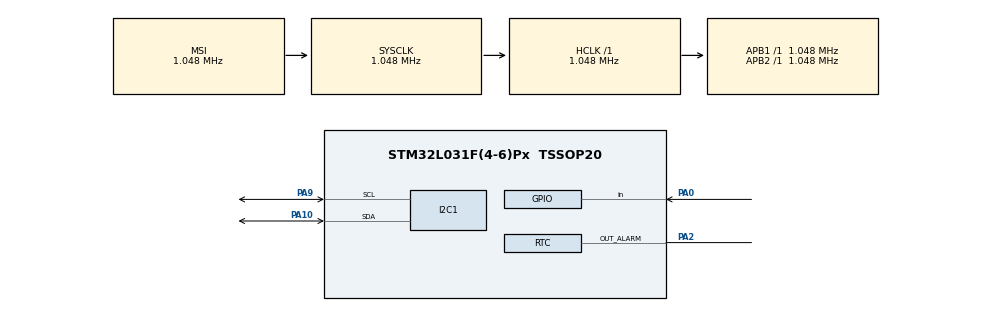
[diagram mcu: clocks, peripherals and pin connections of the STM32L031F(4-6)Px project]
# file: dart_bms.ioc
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I2C1.I2C_Coeff_DF=7
I2C1.I2C_Fall_Time=50
I2C1.I2C_Rise_Time=50
I2C1.SMBusNoStretchMode=SMBUS_NOSTRETCH_DISABLE
I2C1.SMBusOwnAddress=0x0c
I2C1.SMBusPeripheralMode=SMBUS_PERIPHERAL_MODE_SMBUS_HOST
I2C1.Speed=100
I2C1.Timeout=0x0000800C
I2C1.Timing=0x00000000
Mcu.Family=STM32L0
Mcu.Name=STM32L031F(4-6)Px
Mcu.Package=TSSOP20
NVIC.I2C1_IRQn=true\:0\:0\:false\:false\:true\:true\:true\:true
NVIC.TIM21_IRQn=true\:0\:0\:false\:false\:true\:true\:true\:true
NVIC.TIM2_IRQn=true\:0\:0\:false\:false\:true\:true\:true\:true
PA0-CK_IN.Signal=GPIO_Input
PA10.GPIO_Pu=GPIO_PULLUP
PA10.Mode=SMBus-two-wire-Interface
PA10.Signal=I2C1_SDA
PA13.Mode=Serial_Wire
PA13.Signal=SYS_SWDIO
PA14.Mode=Serial_Wire
PA14.Signal=SYS_SWCLK
PA2.Mode=WakeUpAF1
PA2.Signal=RTC_OUT_ALARM
PA9.GPIO_Pu=GPIO_PULLUP
PA9.Mode=SMBus-two-wire-Interface
PA9.Signal=I2C1_SCL
PC14-OSC32_IN.Mode=LSE-External-Oscillator
PC14-OSC32_IN.Signal=RCC_OSC32_IN
PC15-OSC32_OUT.Mode=LSE-External-Oscillator
PC15-OSC32_OUT.Signal=RCC_OSC32_OUT
ProjectManager.HeapSize=0x200
ProjectManager.StackSize=0x400
ProjectManager.TargetToolchain=STM32CubeIDE
RCC.AHBFreq_Value=1048000
RCC.APB1Freq_Value=1048000
RCC.APB1TimFreq_Value=1048000
RCC.APB2Freq_Value=1048000
RCC.APB2TimFreq_Value=1048000
RCC.HCLKFreq_Value=1048000
RCC.HSE_VALUE=8000000
RCC.HSI16_VALUE=16000000
RCC.HSI_VALUE=16000000
RCC.MSIClockRange=RCC_MSIRANGE_4
RCC.MSI_VALUE=1048000
RCC.RTCClockSelectionVirtual=RCC_RTCCLKSOURCE_LSE
RCC.SYSCLKFreq_VALUE=1048000
RCC.VCOOutputFreq_Value=48000000
RTC.WakeUpClock-WakeUpAF1=RTC_WAKEUPCLOCK_CK_SPRE_16BITS
TIM2.ClockDivision=TIM_CLOCKDIVISION_DIV4
TIM2.Period=2620
TIM21.ClockDivision=TIM_CLOCKDIVISION_DIV4
TIM21.Period=1000
TIM21.Prescaler=785
VP_RTC_VS_RTC_Activate.Mode=RTC_Enabled
VP_RTC_VS_RTC_Calendar.Mode=RTC_Calendar
VP_SYS_VS_LPOM.Mode=PowerOptimisation
VP_TIM21_VS_ClockSourceINT.Mode=Internal
VP_TIM2_VS_ClockSourceINT.Mode=Internal
board=custom

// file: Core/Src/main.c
/* USER CODE BEGIN Header */
/**
  ******************************************************************************
  * @file           : main.c
  * @brief          : Main program body
  ******************************************************************************
  * @attention
  *
  * Copyright (c) 2024 STMicroelectronics.
  * All rights reserved.
  *
  * This software is licensed under terms that can be found in the LICENSE file
  * in the root directory of this software component.
  * If no LICENSE file comes with this software, it is provided AS-IS.
  *
  ******************************************************************************
  */
/* USER CODE END Header */
#include "main.h"
#include "i2c.h"
#include "rtc.h"
#include "tim.h"
#include "gpio.h"

/* USER CODE BEGIN Includes */
#include <time.h>
#include <sys/types.h>
#include "chalie_leds.h"
/* USER CODE END Includes */

/* USER CODE BEGIN PTD */
enum BMS_State
{
    BMS_STATE_INITIALIZING = 0,
    BMS_STATE_IDLE = 1,
    BMS_STATE_SLEEP = 2,
    BMS_STATE_KEY_FIRST_PRESS = 3,
    BMS_STATE_KEY_SHORT_PRESSED_ONCE = 4,
    BMS_STATE_KEY_SHORT_LONG_PRESS = 5,
    BMS_STATE_KEY_LONG_PRESS = 6
};

enum FET_State
{
    FET_STATE_OFF = 0,
    FET_STATE_ON
};

enum Light_State
{
    LIGHT_STATE_OFF = 0,
    LIGHT_STATE_BRIEF_DISPLAY,
    LIGHT_STATE_SHORT_LONG_PRESS,
    LIGHT_STATE_STEADY_DISPLAY,
    LIGHT_STATE_ERROR_DISPLAY
};

enum Shutdown_State
{
    SHUTDOWN_STATE_OFF = 0,
    SHUTDOWN_STATE_OK,
    SHUTDOWN_STATE_WAITING
};
/* USER CODE END PTD */

/* USER CODE BEGIN PD */
#define SOC_THRESHOLD_LOW    10    // 5% SOC critical low
#define VOLTAGE_THRESHOLD    7000 // 8V in mV for power on
#define KEY_LONG_PRESS_TIME  1000 // 1s for long press
#define Shutdown_Timeout     2000 // 20s for waiting for the RaspberryPi to power off
#define NO_LOAD_TIMEOUT      10000 // 10s timeout for 0 load
#define I2C_TIMEOUT          100  // I2C timeout in ms
/* USER CODE END PD */

/* USER CODE BEGIN PV */
uint is_shutdown = 0;
uint8_t display_active = 0; // 是否正在显示电量
uint8_t last_timer_it_state = 0;
uint8_t is_pressing = 0;
uint8_t is_status_new = 1;
HAL_StatusTypeDef smbus_status;

enum Shutdown_State shutdown = SHUTDOWN_STATE_OFF;
enum BMS_State current_bms_state = BMS_STATE_INITIALIZING;
enum FET_State current_fet_state = FET_STATE_OFF;
enum Light_State current_light_state = LIGHT_STATE_OFF;
uint8_t pres_state = 0; // 0: inactive, 1: active
uint8_t zero_load_state = 0; // 0: normal, 1: zero load
uint32_t zero_load_time = 0;
uint8_t first_time_zero_load = 0;
uint32_t key_press_start_time = 0;
uint32_t shutdown_start_time = 0;

uint8_t bq40z50_address = 0x0b;
uint8_t read = 0;
int16_t current = 0;
uint16_t voltage = 0;
uint8_t soc = 0;
uint16_t battery_status = 0;
int code = 0;

static uint8_t battery_status_BIN[16] = {0};
static uint8_t Manufacturing_Status_HEX[5] = {0};
static uint8_t Manufacturing_Status_BIN[16] = {0};
static uint8_t Safety_Alert_HEX[7] = {0};
static uint8_t Safety_Alert_BIN[32] = {0};
static uint8_t Operation_Status_HEX[7] = {0};
static uint8_t Operation_Status_BIN[32] = {0};
/* USER CODE END PV */

void SystemClock_Config(void);
/* USER CODE BEGIN PFP */
void BMS_StateMachine(void);

void UpdateBatteryStatus(void);

void UpdateLightState(void);

void UpdateFetState(uint8_t fet_enable, uint8_t dsg_enable, uint8_t chg_enable, uint8_t pchg_enable);

void CheckPRES(void);

void CheckZeroLoad(void);

void CheckFet(void);

void Enter_Standby_Mode(void);

/* USER CODE END PFP */

int main(void)
{

    /* MCU Configuration--------------------------------------------------------*/

    /* Reset of all peripherals, Initializes the Flash interface and the Systick. */
    HAL_Init();

    /* Configure the system clock */
    SystemClock_Config();

    /* Initialize all configured peripherals */
    MX_GPIO_Init();
    MX_TIM2_Init();
    MX_I2C1_SMBUS_Init();
    MX_TIM21_Init();
    MX_RTC_Init();
    /* USER CODE BEGIN 2 */
    chalie_leds_init();
    HAL_SMBUS_EnableListen_IT(&hsmbus1);
    /* USER CODE END 2 */

    /* Infinite loop */
    while (1)
    {

        /* USER CODE BEGIN 3 */
        BMS_StateMachine();
    }
    /* USER CODE END 3 */
}

void SystemClock_Config(void)
{
    RCC_OscInitTypeDef RCC_OscInitStruct = {0};
    RCC_ClkInitTypeDef RCC_ClkInitStruct = {0};
    RCC_PeriphCLKInitTypeDef PeriphClkInit = {0};

    /** Configure the main internal regulator output voltage
    */
    __HAL_PWR_VOLTAGESCALING_CONFIG(PWR_REGULATOR_VOLTAGE_SCALE1);

    /** Configure LSE Drive Capability
    */
    HAL_PWR_EnableBkUpAccess();
    __HAL_RCC_LSEDRIVE_CONFIG(RCC_LSEDRIVE_LOW);

    /** Initializes the RCC Oscillators according to the specified parameters
    * in the RCC_OscInitTypeDef structure.
    */
    RCC_OscInitStruct.OscillatorType = RCC_OSCILLATORTYPE_LSE | RCC_OSCILLATORTYPE_MSI;
    RCC_OscInitStruct.LSEState = RCC_LSE_ON;
    RCC_OscInitStruct.MSIState = RCC_MSI_ON;
    RCC_OscInitStruct.MSICalibrationValue = 0;
    RCC_OscInitStruct.MSIClockRange = RCC_MSIRANGE_4;
    RCC_OscInitStruct.PLL.PLLState = RCC_PLL_NONE;
    if (HAL_RCC_OscConfig(&RCC_OscInitStruct) != HAL_OK)
    {
        Error_Handler();
    }

    /** Initializes the CPU, AHB and APB buses clocks
    */
    RCC_ClkInitStruct.ClockType = RCC_CLOCKTYPE_HCLK | RCC_CLOCKTYPE_SYSCLK
        | RCC_CLOCKTYPE_PCLK1 | RCC_CLOCKTYPE_PCLK2;
    RCC_ClkInitStruct.SYSCLKSource = RCC_SYSCLKSOURCE_MSI;
    RCC_ClkInitStruct.AHBCLKDivider = RCC_SYSCLK_DIV1;
    RCC_ClkInitStruct.APB1CLKDivider = RCC_HCLK_DIV1;
    RCC_ClkInitStruct.APB2CLKDivider = RCC_HCLK_DIV1;

    if (HAL_RCC_ClockConfig(&RCC_ClkInitStruct, FLASH_LATENCY_0) != HAL_OK)
    {
        Error_Handler();
    }
    PeriphClkInit.PeriphClockSelection = RCC_PERIPHCLK_I2C1 | RCC_PERIPHCLK_RTC;
    PeriphClkInit.I2c1ClockSelection = RCC_I2C1CLKSOURCE_PCLK1;
    PeriphClkInit.RTCClockSelection = RCC_RTCCLKSOURCE_LSE;
    if (HAL_RCCEx_PeriphCLKConfig(&PeriphClkInit) != HAL_OK)
    {
        Error_Handler();
    }
}

/* USER CODE BEGIN 4 */
/**
  * @brief 主状态机，管理BMS状态、FET和LED行为
  */
void BMS_StateMachine(void)
{
    // 检查按键状态
    uint8_t key_pressed = (HAL_GPIO_ReadPin(GPIOA, GPIO_PIN_0) == GPIO_PIN_RESET) ? 1 : 0;

    // 存储一个临时的FET状态，作为后续的对比
    enum FET_State internal_fet_state = current_fet_state;

    // 每5000ms更新一次电池状态
    if (HAL_GetTick() % 5000 <= 2500 && !read && !key_pressed)
    {
        HAL_SMBUS_DisableListen_IT(&hsmbus1);
        UpdateBatteryStatus();
        HAL_SMBUS_EnableListen_IT(&hsmbus1);
        read = 1;
    }
    else if (HAL_GetTick() % 5000 >= 2500)
    {
        read = 0;
    }

    // 检查PRES状态和零负载是否超过10秒
    CheckPRES();
    CheckZeroLoad();

    switch (current_bms_state)
    {
    case BMS_STATE_INITIALIZING:
        // 初始化时尝试开启FET
        HAL_SMBUS_DisableListen_IT(&hsmbus1);
        UpdateFetState(0, 1, 1, 1);
        HAL_SMBUS_EnableListen_IT(&hsmbus1);
        current_bms_state = BMS_STATE_IDLE;
        current_fet_state = FET_STATE_ON;
        current_light_state = LIGHT_STATE_OFF;
        if (!pres_state)
        {
            current_fet_state = FET_STATE_ON;
        }
        break;

    case BMS_STATE_IDLE:
        current_light_state = LIGHT_STATE_OFF;
        if (current_fet_state == FET_STATE_ON)
        {
            current_light_state = LIGHT_STATE_STEADY_DISPLAY;
        }
        if (key_pressed)
        {
            current_bms_state = BMS_STATE_KEY_FIRST_PRESS;
            key_press_start_time = HAL_GetTick();
        }
    // 系统电源关闭条件
        // if (current_fet_state == FET_STATE_ON &&
        //     ((battery_status_BIN[9] && zero_load_state) || // 放电 & 0负载超过10s
        //         (battery_status_BIN[9] && soc <= SOC_THRESHOLD_LOW) || //  放电下电量低
        //         (!battery_status_BIN[9] && Safety_Alert_BIN[9])) // 充电下过充保护激活
        // )
        // {
        //     current_fet_state = FET_STATE_OFF;
        // }
        // if (current_fet_state == FET_STATE_ON && zero_load_state) //
        // {
        //     current_bms_state = BMS_STATE_SLEEP;
        // }
        break;

    case BMS_STATE_KEY_FIRST_PRESS:
        if (!key_pressed)
        {
            current_bms_state = BMS_STATE_KEY_SHORT_PRESSED_ONCE;
            key_press_start_time = HAL_GetTick();
        }
        break;

    case BMS_STATE_KEY_SHORT_PRESSED_ONCE:
        current_light_state = LIGHT_STATE_BRIEF_DISPLAY;
        if (key_pressed && (HAL_GetTick() - key_press_start_time < 2000))
        {
            key_press_start_time = HAL_GetTick();
            current_bms_state = BMS_STATE_KEY_SHORT_LONG_PRESS;
        }
        else if (!key_pressed && HAL_GetTick() - key_press_start_time >= 2000)
        {
            current_bms_state = BMS_STATE_IDLE;
        }
        break;

    case BMS_STATE_KEY_SHORT_LONG_PRESS:
        current_light_state = LIGHT_STATE_SHORT_LONG_PRESS;
        if (HAL_GetTick() - key_press_start_time >= KEY_LONG_PRESS_TIME && !key_pressed)
        {
            current_bms_state = BMS_STATE_KEY_LONG_PRESS;
        }
        else if (!key_pressed)
        {
            current_bms_state = BMS_STATE_KEY_SHORT_PRESSED_ONCE;
            key_press_start_time = HAL_GetTick();
        }
        break;

    case BMS_STATE_KEY_LONG_PRESS:
        if (!key_pressed)
        {
            current_bms_state = BMS_STATE_IDLE;
            if (current_fet_state == FET_STATE_ON)
            {
                // 若FET原本为开
                current_fet_state = FET_STATE_OFF; // 长按关闭FET
                current_light_state = LIGHT_STATE_OFF;
            }
            else
            {
                // 系统电源开启条件
                if (voltage >= VOLTAGE_THRESHOLD)
                {
                    // 如果电压大于阈值
                    current_fet_state = FET_STATE_ON;
                    current_light_state = LIGHT_STATE_STEADY_DISPLAY;
                }
            }
        }
        break;

    case BMS_STATE_SLEEP:
        shutdown_start_time = HAL_GetTick();
        if (!is_shutdown)
        {
            shutdown = SHUTDOWN_STATE_WAITING;
            is_shutdown = 1;
        }
        if (shutdown == SHUTDOWN_STATE_OK || HAL_GetTick() - shutdown_start_time >= Shutdown_Timeout)
        {
            is_shutdown = 0;
            shutdown = SHUTDOWN_STATE_OFF;
            current_fet_state = FET_STATE_OFF;
            Enter_Standby_Mode();
        }
        break;

    default:
        current_bms_state = BMS_STATE_INITIALIZING;
        break;
    }

    if (internal_fet_state != current_fet_state)
    {
        HAL_SMBUS_DisableListen_IT(&hsmbus1);
        if (!is_status_new)
        {
            UpdateBatteryStatus();
        }
        UpdateFetState(2, current_fet_state == FET_STATE_ON ? 1 : 0, current_fet_state == FET_STATE_ON ? 1 : 0, 1);
    }
    HAL_SMBUS_EnableListen_IT(&hsmbus1);
    UpdateLightState();
}

/**
  * @brief 更新电池状态
  */
void UpdateBatteryStatus(void)
{
    uint8_t Command = 0x44;
    uint16_t Safety_Alert = 0x0051;
    uint16_t Operation_Status = 0x0054;
    uint16_t Manufacturing_Status = 0x0057;
    uint8_t soc_address = 0x0d;
    uint8_t current_address = 0x0a;
    uint8_t voltage_address = 0x09;
    uint8_t battery_status_address = 0x16;

    // 更新soc,current,voltage的值
    smbus_status = HAL_SMBUS_Master_Transmit(&hsmbus1, bq40z50_address << 1, &soc_address, 1, SMBUS_FIRST_FRAME,
                                             I2C_TIMEOUT);
    if (smbus_status == HAL_TIMEOUT)
    {
        MX_I2C1_SMBUS_Init();
        HAL_SMBUS_Master_Transmit(&hsmbus1, bq40z50_address << 1, &soc_address, 1, SMBUS_FIRST_FRAME, I2C_TIMEOUT);
    }
    HAL_SMBUS_Master_Receive(&hsmbus1, bq40z50_address << 1, (uint8_t*)&soc, 1, SMBUS_LAST_FRAME_NO_PEC, I2C_TIMEOUT);
    HAL_SMBUS_Master_Transmit(&hsmbus1, bq40z50_address << 1, &current_address, 1, SMBUS_FIRST_FRAME, I2C_TIMEOUT);
    HAL_SMBUS_Master_Receive(&hsmbus1, bq40z50_address << 1, (uint8_t*)&current, 2, SMBUS_LAST_FRAME_NO_PEC,
                             I2C_TIMEOUT);
    HAL_SMBUS_Master_Transmit(&hsmbus1, bq40z50_address << 1, &voltage_address, 1, SMBUS_FIRST_FRAME, I2C_TIMEOUT);
    HAL_SMBUS_Master_Receive(&hsmbus1, bq40z50_address << 1, (uint8_t*)&voltage, 2, SMBUS_LAST_FRAME_NO_PEC,
                             I2C_TIMEOUT);
    code = (soc - 1) / 12.5;

    // 更新Battery Status
    HAL_SMBUS_Master_Transmit(&hsmbus1, bq40z50_address << 1, &battery_status_address, 1, SMBUS_FIRST_FRAME,
                              I2C_TIMEOUT);
    HAL_SMBUS_Master_Receive(&hsmbus1, bq40z50_address << 1, (uint8_t*)&battery_status, 2, SMBUS_LAST_FRAME_NO_PEC,
                             I2C_TIMEOUT);
    for (int i = 0; i < 16; i++)
    {
        battery_status_BIN[i] = (battery_status & (1 << (15 - i))) ? 1 : 0;
    }

    // 更新Manufacture Status
    ManufacturerBlockAccess_write(Manufacturing_Status);
    HAL_SMBUS_Master_Transmit(&hsmbus1, bq40z50_address << 1, &Command, 1, SMBUS_LAST_FRAME_NO_PEC, I2C_TIMEOUT);
    HAL_SMBUS_Master_Receive(&hsmbus1, bq40z50_address << 1, Manufacturing_Status_HEX, 5, SMBUS_LAST_FRAME_NO_PEC,
                             I2C_TIMEOUT);
    uint16_t value_1 = Manufacturing_Status_HEX[4] << 8 | Manufacturing_Status_HEX[3];
    for (int i = 0; i < 16; i++)
    {
        Manufacturing_Status_BIN[i] = (value_1 & (1 << (15 - i))) ? 1 : 0;
    }

    // 更新Safety Alert
    ManufacturerBlockAccess_write(Safety_Alert);
    HAL_SMBUS_Master_Transmit(&hsmbus1, bq40z50_address << 1, &Command, 1, SMBUS_LAST_FRAME_NO_PEC, I2C_TIMEOUT);
    HAL_SMBUS_Master_Receive(&hsmbus1, bq40z50_address << 1, Safety_Alert_HEX, 7, SMBUS_LAST_FRAME_NO_PEC, I2C_TIMEOUT);
    uint32_t value_2 = Safety_Alert_HEX[6] << 24 | Safety_Alert_HEX[5] << 16 | Safety_Alert_HEX[4] << 8 |
        Safety_Alert_HEX[3];
    for (int i = 0; i < 32; i++)
    {
        Safety_Alert_BIN[i] = (value_2 & (1U << (31 - i))) ? 1 : 0;
    }

    // 更新Operation Status
    ManufacturerBlockAccess_write(Operation_Status);
    HAL_SMBUS_Master_Transmit(&hsmbus1, bq40z50_address << 1, &Command, 1, SMBUS_LAST_FRAME_NO_PEC, I2C_TIMEOUT);
    HAL_SMBUS_Master_Receive(&hsmbus1, bq40z50_address << 1, Operation_Status_HEX, 7, SMBUS_LAST_FRAME_NO_PEC,
                             I2C_TIMEOUT);
    uint32_t value_3 = Operation_Status_HEX[6] << 24 | Operation_Status_HEX[5] << 16 | Operation_Status_HEX[4] << 8 |
        Operation_Status_HEX[3];
    for (int i = 0; i < 32; i++)
    {
        Operation_Status_BIN[i] = (value_3 & (1U << (31 - i))) ? 1 : 0;
    }

    CheckFet();
    is_status_new = 1;
}

/**
  * @brief 控制FET状态
  */
void UpdateFetState(uint8_t fet_enable, uint8_t dsg_enable, uint8_t chg_enable, uint8_t pchg_enable)
{
    uint16_t FET_Control = 0x0022;
    uint16_t DSG_FET_Toggle = 0x0020;
    uint16_t CHG_FET_Toggle = 0x001f;
    uint16_t PCHG_FET_Toggle = 0x001e;

    if ((Manufacturing_Status_BIN[11] == 0 && fet_enable == 1) || (
        Manufacturing_Status_BIN[11] == 1 && fet_enable == 0))
    {
        ManufacturerBlockAccess_write(FET_Control);
    }
    if ((Manufacturing_Status_BIN[13] == 0 && dsg_enable == 1) || (
        Manufacturing_Status_BIN[13] == 1 && dsg_enable == 0))
    {
        ManufacturerBlockAccess_write(DSG_FET_Toggle);
    }
    if ((Manufacturing_Status_BIN[14] == 0 && chg_enable == 1) || (
        Manufacturing_Status_BIN[14] == 1 && chg_enable == 0))
    {
        ManufacturerBlockAccess_write(CHG_FET_Toggle);
    }
    if ((Manufacturing_Status_BIN[15] == 0 && pchg_enable == 1) || (
        Manufacturing_Status_BIN[15] == 1 && pchg_enable == 0))
    {
        ManufacturerBlockAccess_write(PCHG_FET_Toggle);
    }

    is_status_new = 0;
}

/**
  * @brief 更新LED状态
  */
void UpdateLightState(void)
{
    switch (current_light_state)
    {
    case LIGHT_STATE_OFF:
        if (last_timer_it_state)
        {
            HAL_TIM_Base_Stop_IT(&htim2);
            last_timer_it_state = 0;
        }
        chalie_led_timer_update(1);
        chalie_leds_set(1, GPIO_PIN_RESET);
        break;

    case LIGHT_STATE_BRIEF_DISPLAY:
        if (!last_timer_it_state)
        {
            HAL_TIM_Base_Start_IT(&htim2);
            last_timer_it_state = 1;
            chalie_leds_set(1, GPIO_PIN_RESET);
        }
        chalie_led_code(code);
        break;

    case LIGHT_STATE_SHORT_LONG_PRESS:
        if (!last_timer_it_state)
        {
            HAL_TIM_Base_Start_IT(&htim2);
            last_timer_it_state = 1;
            chalie_leds_set(1, GPIO_PIN_RESET);
        }
        chalie_led_code((HAL_GetTick() - key_press_start_time) / 250 * 2 + 1);
        break;

    case LIGHT_STATE_STEADY_DISPLAY:
        if (!last_timer_it_state)
        {
            HAL_TIM_Base_Start_IT(&htim2);
            last_timer_it_state = 1;
        }
        chalie_led_code(code);
        break;

    case LIGHT_STATE_ERROR_DISPLAY:
        if (!last_timer_it_state)
        {
            HAL_TIM_Base_Start_IT(&htim2);
            last_timer_it_state = 1;
        }
        if (HAL_GetTick() % 1000 >= 500)
        {
            chalie_led_code(7);
        }
        else
        {
            chalie_led_code(0);
        }
        break;
    }
}

/**
  * @brief 检查PRES状态
  */
void CheckPRES(void)
{
    pres_state = Operation_Status_BIN[31];
}

/**
  * @brief 检查零负载状态
  */
void CheckZeroLoad(void)
{
    if (current > -10 && current < 10)
    {
        if (first_time_zero_load == 0)
        {
            first_time_zero_load = 1;
            zero_load_time = HAL_GetTick();
        }
        else if (HAL_GetTick() - zero_load_time > NO_LOAD_TIMEOUT)
        {
            zero_load_state = 1;
            first_time_zero_load = 0;
        }
    }
    else
    {
        zero_load_state = 0;
        first_time_zero_load = 0;
    }
}

/**
  * @brief 检查FET状态
  */
void CheckFet(void)
{
    if (Manufacturing_Status_BIN[13] == 1 && Manufacturing_Status_BIN[14] == 1)
    {
        current_fet_state = FET_STATE_ON;
    }
    else
    {
        current_fet_state = FET_STATE_OFF;
    }
}

/**
  * @brief 在RTC中断唤醒后恢复时间
  */
void HAL_RTCEx_WakeUpTimerEventCallback(RTC_HandleTypeDef* hrtc)
{
    RTC_TimeTypeDef sTime;
    RTC_DateTypeDef sDate;
    // char str[200] = {0};

    // 获取时间
    if (HAL_RTC_GetTime(hrtc, &sTime, RTC_FORMAT_BIN) != HAL_OK)
    {
        return;
    }

    // 获取日期
    if (HAL_RTC_GetDate(hrtc, &sDate, RTC_FORMAT_BIN) != HAL_OK)
    {
        return;
    }

    HAL_RTCEx_BKUPWrite(hrtc, RTC_BKP_DR1, 0x01);
    HAL_RTCEx_BKUPWrite(hrtc, RTC_BKP_DR2, sTime.Hours);
    HAL_RTCEx_BKUPWrite(hrtc, RTC_BKP_DR3, sTime.Minutes);
    HAL_RTCEx_BKUPWrite(hrtc, RTC_BKP_DR4, sTime.Seconds);

    chalie_leds_set(1, GPIO_PIN_SET); // 打开LED，指示设备被唤醒
    HAL_Delay(1000); // 延迟1秒后关闭LED
    chalie_leds_set(1, GPIO_PIN_RESET);
    current_bms_state = BMS_STATE_INITIALIZING;
}

/**
  * @brief 进入待机模式
  */
void Enter_Standby_Mode(void)
{
    __HAL_RCC_PWR_CLK_ENABLE(); // 使能 PWR 时钟
    __HAL_PWR_CLEAR_FLAG(PWR_FLAG_WU); // 清除唤醒标志

    // 配置 RTC 唤醒定时器，实现 10 秒钟唤醒
    if (HAL_RTCEx_SetWakeUpTimer_IT(&hrtc, 9, RTC_WAKEUPCLOCK_CK_SPRE_16BITS) != HAL_OK)
    {
        Error_Handler();
    }

    // 进入待机模式
    HAL_PWR_EnterSTANDBYMode();
}

/* USER CODE END 4 */

void Error_Handler(void)
{
    __disable_irq();
    while (1)
    {
    }
}
